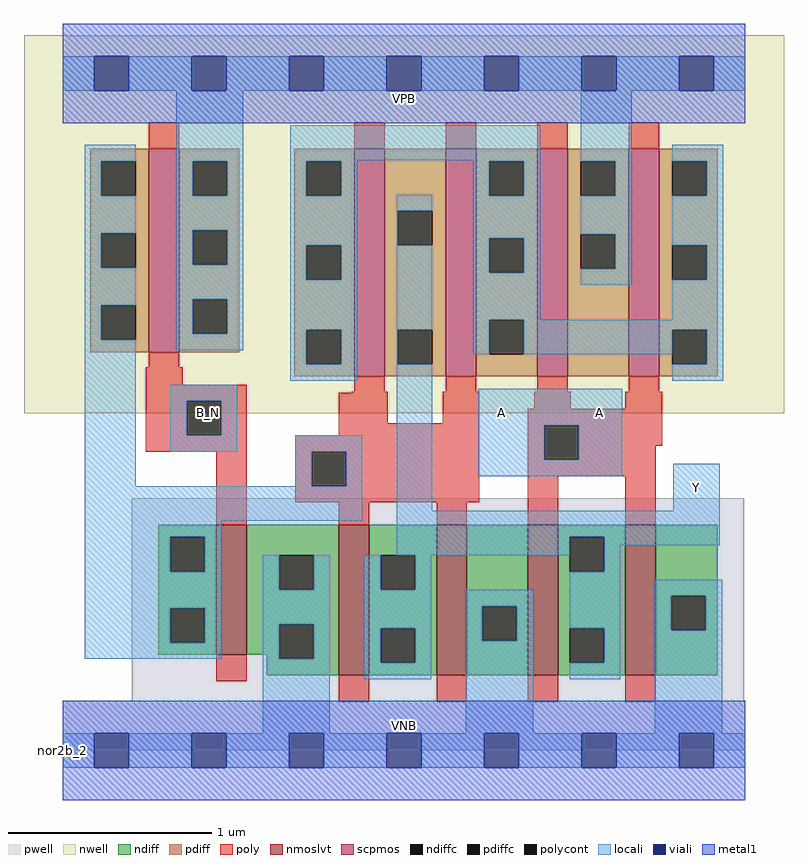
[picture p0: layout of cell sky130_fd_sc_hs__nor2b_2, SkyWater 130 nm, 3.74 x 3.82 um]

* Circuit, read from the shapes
.subckt sky130_fd_sc_hs__nor2b_2 A B_N VGND VNB VPB VPWR Y
XM1 VGND B_N n1 VNB sky130_fd_pr__nfet_01v8_lvt w=0.64 l=0.15
XM2 Y n1 VGND VNB sky130_fd_pr__nfet_01v8_lvt w=0.74 l=0.15 m=2
XM3 Y A VGND VNB sky130_fd_pr__nfet_01v8_lvt w=0.74 l=0.15 m=2
XM4 VPWR B_N n1 VPB sky130_fd_pr__pfet_01v8 w=1 l=0.15
XM5 Y n1 n2 VPB sky130_fd_pr__pfet_01v8 w=1.12 l=0.15 m=2
XM6 VPWR A n2 VPB sky130_fd_pr__pfet_01v8 w=1.12 l=0.15 m=2
.ends

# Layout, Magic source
magic
tech sky130A
magscale 1 2
<< nwell >>
rect -38 332 710 704
<< pwell >>
rect 68 49 671 248
rect 0 0 672 49
<< scpmos >>
rect 85 392 115 592
rect 287 368 317 592
rect 377 368 407 592
rect 467 368 497 592
rect 557 368 587 592
<< nmoslvt >>
rect 151 94 181 222
rect 272 74 302 222
rect 368 74 398 222
rect 458 74 488 222
rect 554 74 584 222
<< ndiff >>
rect 94 210 151 222
rect 94 176 106 210
rect 140 176 151 210
rect 94 140 151 176
rect 94 106 106 140
rect 140 106 151 140
rect 94 94 151 106
rect 181 192 272 222
rect 181 158 213 192
rect 247 158 272 192
rect 181 124 272 158
rect 181 94 213 124
rect 201 90 213 94
rect 247 90 272 124
rect 201 74 272 90
rect 302 192 368 222
rect 302 158 313 192
rect 347 158 368 192
rect 302 120 368 158
rect 302 86 313 120
rect 347 86 368 120
rect 302 74 368 86
rect 398 142 458 222
rect 398 108 413 142
rect 447 108 458 142
rect 398 74 458 108
rect 488 210 554 222
rect 488 176 499 210
rect 533 176 554 210
rect 488 120 554 176
rect 488 86 499 120
rect 533 86 554 120
rect 488 74 554 86
rect 584 152 645 222
rect 584 118 599 152
rect 633 118 645 152
rect 584 74 645 118
<< pdiff >>
rect 27 580 85 592
rect 27 546 38 580
rect 72 546 85 580
rect 27 509 85 546
rect 27 475 38 509
rect 72 475 85 509
rect 27 438 85 475
rect 27 404 38 438
rect 72 404 85 438
rect 27 392 85 404
rect 115 580 174 592
rect 115 546 128 580
rect 162 546 174 580
rect 115 512 174 546
rect 115 478 128 512
rect 162 478 174 512
rect 115 444 174 478
rect 115 410 128 444
rect 162 410 174 444
rect 115 392 174 410
rect 228 580 287 592
rect 228 546 240 580
rect 274 546 287 580
rect 228 497 287 546
rect 228 463 240 497
rect 274 463 287 497
rect 228 414 287 463
rect 228 380 240 414
rect 274 380 287 414
rect 228 368 287 380
rect 317 531 377 592
rect 317 497 330 531
rect 364 497 377 531
rect 317 414 377 497
rect 317 380 330 414
rect 364 380 377 414
rect 317 368 377 380
rect 407 580 467 592
rect 407 546 420 580
rect 454 546 467 580
rect 407 504 467 546
rect 407 470 420 504
rect 454 470 467 504
rect 407 424 467 470
rect 407 390 420 424
rect 454 390 467 424
rect 407 368 467 390
rect 497 580 557 592
rect 497 546 510 580
rect 544 546 557 580
rect 497 508 557 546
rect 497 474 510 508
rect 544 474 557 508
rect 497 368 557 474
rect 587 580 645 592
rect 587 546 600 580
rect 634 546 645 580
rect 587 497 645 546
rect 587 463 600 497
rect 634 463 645 497
rect 587 414 645 463
rect 587 380 600 414
rect 634 380 645 414
rect 587 368 645 380
<< ndiffc >>
rect 106 176 140 210
rect 106 106 140 140
rect 213 158 247 192
rect 213 90 247 124
rect 313 158 347 192
rect 313 86 347 120
rect 413 108 447 142
rect 499 176 533 210
rect 499 86 533 120
rect 599 118 633 152
<< pdiffc >>
rect 38 546 72 580
rect 38 475 72 509
rect 38 404 72 438
rect 128 546 162 580
rect 128 478 162 512
rect 128 410 162 444
rect 240 546 274 580
rect 240 463 274 497
rect 240 380 274 414
rect 330 497 364 531
rect 330 380 364 414
rect 420 546 454 580
rect 420 470 454 504
rect 420 390 454 424
rect 510 546 544 580
rect 510 474 544 508
rect 600 546 634 580
rect 600 463 634 497
rect 600 380 634 414
<< poly >>
rect 85 592 115 618
rect 287 592 317 618
rect 377 592 407 618
rect 467 592 497 618
rect 557 592 587 618
rect 85 377 115 392
rect 82 360 118 377
rect 82 344 181 360
rect 287 353 317 368
rect 377 353 407 368
rect 467 353 497 368
rect 557 353 587 368
rect 284 352 320 353
rect 82 310 122 344
rect 156 310 181 344
rect 272 322 320 352
rect 374 322 410 353
rect 464 336 500 353
rect 554 336 590 353
rect 272 310 410 322
rect 82 294 181 310
rect 151 222 181 294
rect 229 294 410 310
rect 229 260 245 294
rect 279 260 410 294
rect 229 244 410 260
rect 458 320 590 336
rect 458 286 474 320
rect 508 300 590 320
rect 508 286 584 300
rect 458 270 584 286
rect 272 222 302 244
rect 368 222 398 244
rect 458 222 488 270
rect 554 222 584 270
rect 151 68 181 94
rect 272 48 302 74
rect 368 48 398 74
rect 458 48 488 74
rect 554 48 584 74
<< polycont >>
rect 122 310 156 344
rect 245 260 279 294
rect 474 286 508 320
<< locali >>
rect 0 649 31 683
rect 65 649 127 683
rect 161 649 223 683
rect 257 649 319 683
rect 353 649 415 683
rect 449 649 511 683
rect 545 649 607 683
rect 641 649 672 683
rect 22 580 72 596
rect 22 546 38 580
rect 22 509 72 546
rect 22 475 38 509
rect 22 438 72 475
rect 22 404 38 438
rect 22 260 72 404
rect 112 580 178 649
rect 112 546 128 580
rect 162 546 178 580
rect 112 512 178 546
rect 112 478 128 512
rect 162 478 178 512
rect 112 444 178 478
rect 112 410 128 444
rect 162 410 178 444
rect 112 394 178 410
rect 224 581 470 615
rect 224 580 290 581
rect 224 546 240 580
rect 274 546 290 580
rect 404 580 470 581
rect 224 497 290 546
rect 224 463 240 497
rect 274 463 290 497
rect 224 414 290 463
rect 224 380 240 414
rect 274 380 290 414
rect 224 364 290 380
rect 329 531 364 547
rect 329 497 330 531
rect 329 414 364 497
rect 329 380 330 414
rect 404 546 420 580
rect 454 546 470 580
rect 404 504 470 546
rect 404 470 420 504
rect 454 470 470 504
rect 404 424 470 470
rect 510 580 560 649
rect 544 546 560 580
rect 510 508 560 546
rect 544 474 560 508
rect 510 458 560 474
rect 600 580 650 596
rect 634 546 650 580
rect 600 497 650 546
rect 634 463 650 497
rect 600 424 650 463
rect 404 390 420 424
rect 454 414 650 424
rect 454 390 600 414
rect 106 344 172 360
rect 106 310 122 344
rect 156 310 172 344
rect 106 294 172 310
rect 229 294 295 310
rect 229 260 245 294
rect 279 260 295 294
rect 22 226 295 260
rect 329 236 364 380
rect 634 380 650 414
rect 600 364 650 380
rect 409 320 551 356
rect 409 286 474 320
rect 508 286 551 320
rect 409 270 551 286
rect 601 236 647 282
rect 22 210 156 226
rect 22 176 106 210
rect 140 176 156 210
rect 329 210 647 236
rect 329 192 499 210
rect 22 140 156 176
rect 22 106 106 140
rect 140 106 156 140
rect 22 90 156 106
rect 197 158 213 192
rect 247 158 263 192
rect 197 124 263 158
rect 197 90 213 124
rect 247 90 263 124
rect 197 17 263 90
rect 297 158 313 192
rect 347 158 363 192
rect 533 202 647 210
rect 533 176 549 202
rect 297 120 363 158
rect 297 86 313 120
rect 347 86 363 120
rect 297 70 363 86
rect 397 142 463 158
rect 397 108 413 142
rect 447 108 463 142
rect 397 17 463 108
rect 499 120 549 176
rect 533 86 549 120
rect 499 70 549 86
rect 583 152 649 168
rect 583 118 599 152
rect 633 118 649 152
rect 583 17 649 118
rect 0 -17 31 17
rect 65 -17 127 17
rect 161 -17 223 17
rect 257 -17 319 17
rect 353 -17 415 17
rect 449 -17 511 17
rect 545 -17 607 17
rect 641 -17 672 17
<< viali >>
rect 31 649 65 683
rect 127 649 161 683
rect 223 649 257 683
rect 319 649 353 683
rect 415 649 449 683
rect 511 649 545 683
rect 607 649 641 683
rect 31 -17 65 17
rect 127 -17 161 17
rect 223 -17 257 17
rect 319 -17 353 17
rect 415 -17 449 17
rect 511 -17 545 17
rect 607 -17 641 17
<< metal1 >>
rect 0 683 672 715
rect 0 649 31 683
rect 65 649 127 683
rect 161 649 223 683
rect 257 649 319 683
rect 353 649 415 683
rect 449 649 511 683
rect 545 649 607 683
rect 641 649 672 683
rect 0 617 672 649
rect 0 17 672 49
rect 0 -17 31 17
rect 65 -17 127 17
rect 161 -17 223 17
rect 257 -17 319 17
rect 353 -17 415 17
rect 449 -17 511 17
rect 545 -17 607 17
rect 641 -17 672 17
rect 0 -49 672 -17
<< labels >>
rlabel comment s 0 0 0 0 4 nor2b_2
flabel pwell s 0 0 672 49 0 FreeSans 200 0 0 0 VNB
port 4 nsew ground bidirectional
flabel nwell s 0 617 672 666 0 FreeSans 200 0 0 0 VPB
port 5 nsew power bidirectional
flabel metal1 s 0 617 672 666 0 FreeSans 340 0 0 0 VPWR
port 6 nsew power bidirectional
flabel metal1 s 0 0 672 49 0 FreeSans 340 0 0 0 VGND
port 3 nsew ground bidirectional
flabel locali s 415 316 449 350 0 FreeSans 340 0 0 0 A
port 1 nsew signal input
flabel locali s 511 316 545 350 0 FreeSans 340 0 0 0 A
port 1 nsew signal input
flabel locali s 127 316 161 350 0 FreeSans 340 0 0 0 B_N
port 2 nsew signal input
flabel locali s 607 242 641 276 0 FreeSans 340 0 0 0 Y
port 7 nsew signal output
<< properties >>
string LEFsite unit
string LEFclass CORE
string FIXED_BBOX 0 0 672 666
string GDS_FILE $PDKPATH/libs.ref/sky130_fd_sc_hs/gds/sky130_fd_sc_hs.gds
string LEFsymmetry X Y
string GDS_END 3271400
string GDS_START 3264992
<< end >>
